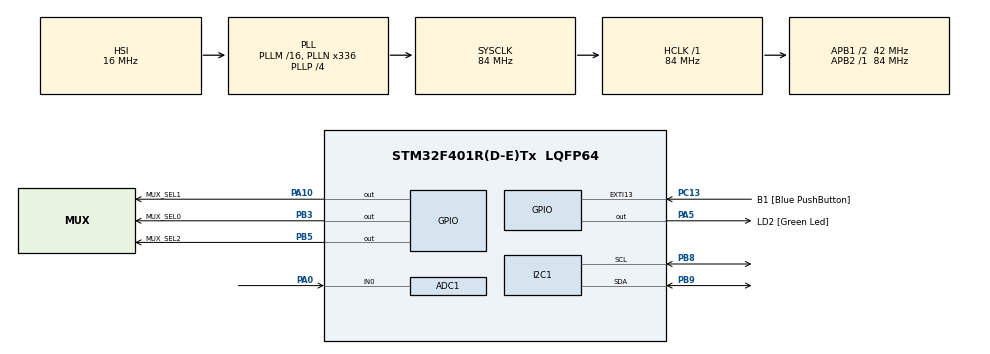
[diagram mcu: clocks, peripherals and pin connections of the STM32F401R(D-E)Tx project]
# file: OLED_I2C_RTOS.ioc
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ADC1.Channel-0\#ChannelRegularConversion=ADC_CHANNEL_0
ADC1.ClockPrescaler=ADC_CLOCK_SYNC_PCLK_DIV4
ADC1.ContinuousConvMode=DISABLE
ADC1.DMAContinuousRequests=ENABLE
ADC1.EOCSelection=ADC_EOC_SEQ_CONV
ADC1.ExternalTrigConv=ADC_EXTERNALTRIGCONV_T2_TRGO
ADC1.ExternalTrigConvEdge=ADC_EXTERNALTRIGCONVEDGE_RISING
ADC1.NbrOfConversionFlag=1
ADC1.Rank-0\#ChannelRegularConversion=1
ADC1.SamplingTime-0\#ChannelRegularConversion=ADC_SAMPLETIME_3CYCLES
ADC1.ScanConvMode=DISABLE
ADC1.master=1
Dma.ADC1.0.Direction=DMA_PERIPH_TO_MEMORY
Dma.ADC1.0.FIFOMode=DMA_FIFOMODE_DISABLE
Dma.ADC1.0.Instance=DMA2_Stream0
Dma.ADC1.0.MemDataAlignment=DMA_MDATAALIGN_WORD
Dma.ADC1.0.MemInc=DMA_MINC_ENABLE
Dma.ADC1.0.Mode=DMA_NORMAL
Dma.ADC1.0.PeriphDataAlignment=DMA_PDATAALIGN_WORD
Dma.ADC1.0.PeriphInc=DMA_PINC_DISABLE
Dma.ADC1.0.Priority=DMA_PRIORITY_LOW
Dma.Request0=ADC1
FREERTOS.Tasks01=defaultTask,0,128,StartDefaultTask,Default,NULL,Dynamic,NULL,NULL
I2C1.I2C_Mode=I2C_Fast
Mcu.Family=STM32F4
Mcu.Name=STM32F401R(D-E)Tx
Mcu.Package=LQFP64
NVIC.DMA2_Stream0_IRQn=true\:5\:0\:false\:false\:true\:true\:false\:true\:true
NVIC.EXTI15_10_IRQn=true\:5\:0\:false\:false\:true\:true\:true\:true\:true
NVIC.PriorityGroup=NVIC_PRIORITYGROUP_4
NVIC.TIM1_UP_TIM10_IRQn=true\:15\:0\:false\:false\:true\:false\:false\:true\:true
NVIC.TimeBase=TIM1_UP_TIM10_IRQn
NVIC.TimeBaseIP=TIM1
PA0-WKUP.Signal=ADCx_IN0
PA10.GPIO_Label=MUX_SEL1
PA10.PinState=GPIO_PIN_SET
PA10.Signal=GPIO_Output
PA13.GPIO_Label=TMS
PA13.Mode=Serial_Wire
PA13.Signal=SYS_JTMS-SWDIO
PA14.GPIO_Label=TCK
PA14.Mode=Serial_Wire
PA14.Signal=SYS_JTCK-SWCLK
PA5.GPIO_Label=LD2 [Green Led]
PA5.GPIO_Mode=GPIO_MODE_OUTPUT_PP
PA5.GPIO_PuPd=GPIO_NOPULL
PA5.GPIO_Speed=GPIO_SPEED_FREQ_LOW
PA5.Signal=GPIO_Output
PB3.GPIO_Label=MUX_SEL0
PB3.PinState=GPIO_PIN_SET
PB3.Signal=GPIO_Output
PB5.GPIO_Label=MUX_SEL2
PB5.GPIO_Speed=GPIO_SPEED_FREQ_LOW
PB5.PinState=GPIO_PIN_SET
PB5.Signal=GPIO_Output
PB8.Mode=I2C
PB8.Signal=I2C1_SCL
PB9.Mode=I2C
PB9.Signal=I2C1_SDA
PC13-ANTI_TAMP.GPIO_Label=B1 [Blue PushButton]
PC13-ANTI_TAMP.GPIO_ModeDefaultEXTI=GPIO_MODE_IT_FALLING
PC13-ANTI_TAMP.GPIO_PuPd=GPIO_PULLUP
PC13-ANTI_TAMP.Signal=GPXTI13
PC14-OSC32_IN.Mode=LSE-External-Oscillator
PC14-OSC32_IN.Signal=RCC_OSC32_IN
PC15-OSC32_OUT.Mode=LSE-External-Oscillator
PC15-OSC32_OUT.Signal=RCC_OSC32_OUT
PH0\ -\ OSC_IN.Mode=HSE-External-Clock-Source
PH0\ -\ OSC_IN.Signal=RCC_OSC_IN
PH1\ -\ OSC_OUT.Mode=HSE-External-Clock-Source
PH1\ -\ OSC_OUT.Signal=RCC_OSC_OUT
ProjectManager.HeapSize=0x200
ProjectManager.StackSize=0x400
ProjectManager.TargetToolchain=STM32CubeIDE
RCC.48MHZClocksFreq_Value=48000000
RCC.AHBFreq_Value=84000000
RCC.APB1CLKDivider=RCC_HCLK_DIV2
RCC.APB1Freq_Value=42000000
RCC.APB1TimFreq_Value=84000000
RCC.APB2Freq_Value=84000000
RCC.APB2TimFreq_Value=84000000
RCC.CortexFreq_Value=84000000
RCC.HCLKFreq_Value=84000000
RCC.HSE_VALUE=8000000
RCC.HSI_VALUE=16000000
RCC.PLLN=336
RCC.PLLP=RCC_PLLP_DIV4
RCC.PLLQ=7
RCC.SYSCLKFreq_VALUE=84000000
RCC.SYSCLKSource=RCC_SYSCLKSOURCE_PLLCLK
RCC.VCOOutputFreq_Value=336000000
SH.ADCx_IN0.0=ADC1_IN0,IN0
TIM2.TIM_MasterOutputTrigger=TIM_TRGO_UPDATE
VP_FREERTOS_VS_CMSIS_V1.Mode=CMSIS_V1
VP_SYS_VS_tim1.Mode=TIM1
VP_TIM2_VS_ClockSourceINT.Mode=Internal
VP_TIM5_VS_ClockSourceINT.Mode=Internal
board=NUCLEO-F401RE

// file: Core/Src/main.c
/* USER CODE BEGIN Header */
/**
  ******************************************************************************
  * @file           : main.c
  * @brief          : Main program body
  ******************************************************************************
  * @attention
  *
  * Copyright (c) 2023 STMicroelectronics.
  * All rights reserved.
  *
  * This software is licensed under terms that can be found in the LICENSE file
  * in the root directory of this software component.
  * If no LICENSE file comes with this software, it is provided AS-IS.
  *
  ******************************************************************************
  */
/* USER CODE END Header */
#include "main.h"
#include "cmsis_os.h"

/* USER CODE BEGIN Includes */
#include "ssd1306.h"
/* USER CODE END Includes */

/* USER CODE BEGIN PD */
#define MAX		512

#define ATEN_03		6	//A0
#define ATEN_05		7	//A1
#define AMP_1		0	//A2
#define AMP_3		1	//A3
#define AMP_5		2	//A4
#define AMP_10		3	//A5
#define AMP_31		4	//A6
#define AMP_50		5	//A7
/* USER CODE END PD */

ADC_HandleTypeDef hadc1;
DMA_HandleTypeDef hdma_adc1;

I2C_HandleTypeDef hi2c1;

TIM_HandleTypeDef htim2;
TIM_HandleTypeDef htim5;

osThreadId defaultTaskHandle;
/* USER CODE BEGIN PV */
int flag;
char adc_char[10];
int trigger_point = 1;
int trigger_level = 2048;
int contador;

uint32_t buffer_adc[MAX];
uint32_t buffer_display[MAX/2];

/* USER CODE END PV */

void SystemClock_Config(void);
static void MX_GPIO_Init(void);
static void MX_DMA_Init(void);
static void MX_ADC1_Init(void);
static void MX_I2C1_Init(void);
static void MX_TIM2_Init(void);
static void MX_TIM5_Init(void);
void StartDefaultTask(void const * argument);

/* USER CODE BEGIN PFP */

void int_to_char(uint32_t num, char texto[]){

	uint32_t buffer = num;
	int contador = 0;

	while(buffer > 0){
		buffer /= 10;
		contador++;
	}

	texto[contador] = '\0';

	buffer = num;
	int pos = contador - 1, digito;
	while(pos >= 0){
		digito = buffer%10;
		buffer /= 10;
		texto[pos] = digito + '0';
		pos--;
	}
}

float map(float x, float in_min, float in_max, float out_min, float out_max){
    return (x - in_min) * (out_max - out_min) / (in_max - in_min) + out_min;
}
void actualizar_escala()
{
switch(contador)
	{
		case AMP_1://A2
			ssd1306_SetCursor(115, 55);
			ssd1306_WriteString("x1", Font_6x8, White);
			ssd1306_SetCursor(6, 9);
			ssd1306_WriteString("1,6", Font_6x8, White);
			ssd1306_SetCursor(17, 33);
			ssd1306_WriteString("0", Font_6x8, White);
			ssd1306_SetCursor(0, 56);
			ssd1306_WriteString("-1,6", Font_6x8, White);
		break;
		case AMP_3://A3
			ssd1306_SetCursor(115, 55);
			ssd1306_WriteString("x3", Font_6x8, White);
			ssd1306_SetCursor(6, 9);
			ssd1306_WriteString("0,6", Font_6x8, White);
			ssd1306_SetCursor(17, 33);
			ssd1306_WriteString("0", Font_6x8, White);
			ssd1306_SetCursor(0, 56);
			ssd1306_WriteString("-0,6", Font_6x8, White);
		break;
		case AMP_5://A4
			ssd1306_SetCursor(115, 55);
			ssd1306_WriteString("x5", Font_6x8, White);
			ssd1306_SetCursor(6, 9);
			ssd1306_WriteString("0,3", Font_6x8, White);
			ssd1306_SetCursor(17, 33);
			ssd1306_WriteString("0", Font_6x8, White);
			ssd1306_SetCursor(0, 56);
			ssd1306_WriteString("-0,3", Font_6x8, White);
		break;
		case AMP_10://A5
			ssd1306_SetCursor(109, 55);
			ssd1306_WriteString("x10", Font_6x8, White);
			ssd1306_SetCursor(6, 9);
			ssd1306_WriteString("0,1", Font_6x8, White);
			ssd1306_SetCursor(17, 33);
			ssd1306_WriteString("0", Font_6x8, White);
			ssd1306_SetCursor(0, 56);
			ssd1306_WriteString("-0,1", Font_6x8, White);
		break;
		case AMP_31://A6
			ssd1306_SetCursor(109, 55);
			ssd1306_WriteString("x31", Font_6x8, White);
			ssd1306_SetCursor(6, 9);
			ssd1306_WriteString("52m", Font_6x8, White);
			ssd1306_SetCursor(17, 33);
			ssd1306_WriteString("0", Font_6x8, White);
			ssd1306_SetCursor(0, 56);
			ssd1306_WriteString("-52m", Font_6x8, White);
		break;
		case AMP_50://A7
			ssd1306_SetCursor(109, 55);
			ssd1306_WriteString("x50", Font_6x8, White);
			ssd1306_SetCursor(6, 9);
			ssd1306_WriteString("33m", Font_6x8, White);
			ssd1306_SetCursor(17, 33);
			ssd1306_WriteString("0", Font_6x8, White);
			ssd1306_SetCursor(0, 56);
			ssd1306_WriteString("-33m", Font_6x8, White);
		break;
		case ATEN_03://A0
			ssd1306_SetCursor(109, 55);
			ssd1306_WriteString("x.3", Font_6x8, White);
			ssd1306_SetCursor(17, 9);
			ssd1306_WriteString("6", Font_6x8, White);
			ssd1306_SetCursor(17, 33);
			ssd1306_WriteString("0", Font_6x8, White);
			ssd1306_SetCursor(11, 56);
			ssd1306_WriteString("-6", Font_6x8, White);
		break;
		case ATEN_05://A1
			ssd1306_SetCursor(109, 55);
			ssd1306_WriteString("x.5", Font_6x8, White);
			ssd1306_SetCursor(6, 9);
			ssd1306_WriteString("3,3", Font_6x8, White);
			ssd1306_SetCursor(17, 33);
			ssd1306_WriteString("0", Font_6x8, White);
			ssd1306_SetCursor(0, 56);
			ssd1306_WriteString("-3,3", Font_6x8, White);
		break;
		default://A2
			ssd1306_SetCursor(115, 55);
			ssd1306_WriteString("x1", Font_6x8, White);
			ssd1306_SetCursor(6, 9);
			ssd1306_WriteString("1,6", Font_6x8, White);
			ssd1306_SetCursor(17, 33);
			ssd1306_WriteString("0", Font_6x8, White);
			ssd1306_SetCursor(0, 56);
			ssd1306_WriteString("-1,6", Font_6x8, White);
		break;
	}
}

void display_plot_grilla(void){

	//ssd1306_Fill(Black);
	ssd1306_SetCursor(0, 0);

	ssd1306_VLine(26, 9, 55, White);   // left vartical line
	ssd1306_VLine(127, 9, 3, White);   // right vrtical line up
	ssd1306_VLine(127, 60, 3, White);  // right vrtical line bottom

	ssd1306_HLine(24, 9, 7, White);    // Max value auxiliary mark
	ssd1306_HLine(24, 36, 2, White);
	ssd1306_HLine(24, 63, 7, White);

	ssd1306_HLine(51, 9, 3, White);    // Max value auxiliary mark
	ssd1306_HLine(51, 63, 3, White);

	ssd1306_HLine(76, 9, 3, White);    // Max value auxiliary mark
	ssd1306_HLine(76, 63, 3, White);

	ssd1306_HLine(101, 9, 3, White);   // Max value auxiliary mark
	ssd1306_HLine(101, 63, 3, White);

	ssd1306_HLine(123, 9, 5, White);   // right side Max value auxiliary mark
	ssd1306_HLine(123, 63, 5, White);

	for (int x = 26; x <= 128; x += 5){
	  ssd1306_HLine(x, 36, 2, White);  // Draw the center line (horizontal line) with a dotted line
	}

	for (int x = (127 - 25); x > 30; x -= 25){
		for (int y = 10; y < 63; y += 5){
			ssd1306_VLine(x, y, 2, White); // Draw 3 vertical lines with dotted lines
		}
	}
	ssd1306_SetCursor(14, 0);
	ssd1306_WriteString("XX.XKH rmsX.XV XXuS", Font_6x8, White);
	//
}

/*
void Analizar_amplitud(uint32_t *buffer)
{
	uint32_t Valor_max;

	for(int i = 1; i< MAX; i++)
	{
		if(buffer[i] > buffer[i-1])
			Valor_max = buffer[i];
	}
	if(Valor_max < 2088)
		Cambiar_MUX(AMP_50);
	else if(Valor_max>2088 && Valor_max<2112)
		Cambiar_MUX(AMP_31);
	else if(Valor_max>2112 && Valor_max<2252)
		Cambiar_MUX(AMP_10);
	else if(Valor_max>2252 && Valor_max<2457)
		Cambiar_MUX(AMP_5);
	else if(Valor_max>2457 && Valor_max<2699)
		Cambiar_MUX(AMP_3);
	else if(Valor_max>2699)
		Cambiar_MUX(AMP_1);
}
*/

void display_plot_signal(void){

	int y3 = 0, y4 = 0;
	int x3 = 0, x4 = 0;

	if(flag)
	{
		//ssd1306_Fill(Black);
		trigger_point = 1;

		for(int i = 0; i<MAX/2; i++)
				buffer_display[i] = buffer_adc[i];

		//Analizar_amplitud(buffer_display);
		for(int i = 0; i <= 98; i++)
		{
			// flanco descendente
			if((buffer_display[i] > trigger_level ) && (buffer_display[i+1]) < trigger_level )
			{
				trigger_point = i;
				break;
			}
		}

		for (int k = 0; k <= 98; k++){

			x3 = k + trigger_point;
			x4 = x3 + 1;

			y3 = map(buffer_display[x3], 0, 4095, 63, 9); 				// convert to plot
			y4 = map(buffer_display[x4], 0, 4095, 63, 9);

			ssd1306_Line(k + 27, y3, k + 28, y4, White);

		 }
		//ssd1306_UpdateScreen();
		//ssd1306_Fill(Black);
		if(flag == 2)
			HAL_ADC_Start_DMA(&hadc1, buffer_adc, MAX);

		flag = 0;
	}
}
void HAL_GPIO_EXTI_Callback(uint16_t GPIO_Pin){
	/*
	trigger_level += 300;
	if(trigger_level > 3800)
		trigger_level = 100;
	*/
	contador++;
	contador %= 8;
	switch(contador)
	{
		case AMP_1://A2
			HAL_GPIO_WritePin(MUX_SEL0_GPIO_Port, MUX_SEL0_Pin, GPIO_PIN_RESET);
			HAL_GPIO_WritePin(MUX_SEL1_GPIO_Port, MUX_SEL1_Pin, GPIO_PIN_SET);
			HAL_GPIO_WritePin(MUX_SEL2_GPIO_Port, MUX_SEL2_Pin, GPIO_PIN_RESET);

		break;
		case AMP_3://A3
			HAL_GPIO_WritePin(MUX_SEL0_GPIO_Port, MUX_SEL0_Pin, GPIO_PIN_SET);
			HAL_GPIO_WritePin(MUX_SEL1_GPIO_Port, MUX_SEL1_Pin, GPIO_PIN_SET);
			HAL_GPIO_WritePin(MUX_SEL2_GPIO_Port, MUX_SEL2_Pin, GPIO_PIN_RESET);
		break;
		case AMP_5://A4
			HAL_GPIO_WritePin(MUX_SEL0_GPIO_Port, MUX_SEL0_Pin, GPIO_PIN_RESET);
			HAL_GPIO_WritePin(MUX_SEL1_GPIO_Port, MUX_SEL1_Pin, GPIO_PIN_RESET);
			HAL_GPIO_WritePin(MUX_SEL2_GPIO_Port, MUX_SEL2_Pin, GPIO_PIN_SET);
		break;
		case AMP_10://A5
			HAL_GPIO_WritePin(MUX_SEL0_GPIO_Port, MUX_SEL0_Pin, GPIO_PIN_SET);
			HAL_GPIO_WritePin(MUX_SEL1_GPIO_Port, MUX_SEL1_Pin, GPIO_PIN_RESET);
			HAL_GPIO_WritePin(MUX_SEL2_GPIO_Port, MUX_SEL2_Pin, GPIO_PIN_SET);
		break;
		case AMP_31://A6
			HAL_GPIO_WritePin(MUX_SEL0_GPIO_Port, MUX_SEL0_Pin, GPIO_PIN_RESET);
			HAL_GPIO_WritePin(MUX_SEL1_GPIO_Port, MUX_SEL1_Pin, GPIO_PIN_SET);
			HAL_GPIO_WritePin(MUX_SEL2_GPIO_Port, MUX_SEL2_Pin, GPIO_PIN_SET);
		break;
		case AMP_50://A7
			HAL_GPIO_WritePin(MUX_SEL0_GPIO_Port, MUX_SEL0_Pin, GPIO_PIN_SET);
			HAL_GPIO_WritePin(MUX_SEL1_GPIO_Port, MUX_SEL1_Pin, GPIO_PIN_SET);
			HAL_GPIO_WritePin(MUX_SEL2_GPIO_Port, MUX_SEL2_Pin, GPIO_PIN_SET);
		break;
		case ATEN_03://A0
			HAL_GPIO_WritePin(MUX_SEL0_GPIO_Port, MUX_SEL0_Pin, GPIO_PIN_RESET);
			HAL_GPIO_WritePin(MUX_SEL1_GPIO_Port, MUX_SEL1_Pin, GPIO_PIN_RESET);
			HAL_GPIO_WritePin(MUX_SEL2_GPIO_Port, MUX_SEL2_Pin, GPIO_PIN_RESET);
		break;
		case ATEN_05://A1
			HAL_GPIO_WritePin(MUX_SEL0_GPIO_Port, MUX_SEL0_Pin, GPIO_PIN_SET);
			HAL_GPIO_WritePin(MUX_SEL1_GPIO_Port, MUX_SEL1_Pin, GPIO_PIN_RESET);
			HAL_GPIO_WritePin(MUX_SEL2_GPIO_Port, MUX_SEL2_Pin, GPIO_PIN_RESET);
		break;
		default://A2
			HAL_GPIO_WritePin(MUX_SEL0_GPIO_Port, MUX_SEL0_Pin, GPIO_PIN_RESET);
			HAL_GPIO_WritePin(MUX_SEL1_GPIO_Port, MUX_SEL1_Pin, GPIO_PIN_SET);
			HAL_GPIO_WritePin(MUX_SEL2_GPIO_Port, MUX_SEL2_Pin, GPIO_PIN_RESET);
		break;
	}
}

void display_plot_trigger(void){

	int trigger_actual = 0;

	trigger_actual = map(trigger_level, 0, 4095, 63, 9);

	//ssd1306_HLine(26, trigger_actual, 100, White);

	// dibujo el triangulo
	ssd1306_VLine(127, trigger_actual-2, 4, White);
	ssd1306_VLine(126, trigger_actual-1, 2, White);
	ssd1306_DrawPixel(125, trigger_actual, White);
}

int half, cplt;
void HAL_ADC_ConvHalfCpltCallback(ADC_HandleTypeDef* hadc)
{
	half++;
	flag = 1;
}

void HAL_ADC_ConvCpltCallback(ADC_HandleTypeDef* hadc){
	cplt++;
	flag = 2;
}

/*
void RMS(void)
{
	#include <math.h>
	for(int i=0; i<NS; i++){
		adc1 = (float32_t)adc_buffer[i]*3.3/4096.0;
		valorMax = adc1*adc1+valorMax;
	}
	pResultado = sqrt(valorMax / (float32_t) blockSize);
	valorMax = 0;
}
*/

/* ------------------------ Tareas Free RTOS ------------------------ */

void Init_Sistema(void *pvParameters){

	ssd1306_Init();
	//HAL_TIM_OC_Start(&htim2, TIM_CHANNEL_1);
	HAL_TIM_Base_Start(&htim2);
	HAL_ADC_Start_DMA(&hadc1, buffer_adc, MAX);
	HAL_GPIO_WritePin(MUX_SEL0_GPIO_Port, MUX_SEL0_Pin, GPIO_PIN_RESET);
	HAL_GPIO_WritePin(MUX_SEL1_GPIO_Port, MUX_SEL1_Pin, GPIO_PIN_SET);
	HAL_GPIO_WritePin(MUX_SEL2_GPIO_Port, MUX_SEL2_Pin, GPIO_PIN_RESET);
	vTaskDelete(NULL);
}
void Mostrar_pantalla(void *pvParameters){

	while(1){

		ssd1306_Fill(Black);
		display_plot_grilla();
		display_plot_trigger();
		display_plot_signal();
		actualizar_escala();
		ssd1306_UpdateScreen();

		vTaskDelay(10/portTICK_RATE_MS);

	}
}

void Cambiar_Modo(void *pvParameters){

}

void Enviar_USB(void *pvParameters){

}

/* USER CODE END PFP */

int main(void)
{

  /* MCU Configuration--------------------------------------------------------*/

  /* Reset of all peripherals, Initializes the Flash interface and the Systick. */
  HAL_Init();

  /* Configure the system clock */
  SystemClock_Config();

  /* Initialize all configured peripherals */
  MX_GPIO_Init();
  MX_DMA_Init();
  MX_ADC1_Init();
  MX_I2C1_Init();
  MX_TIM2_Init();
  MX_TIM5_Init();

  /* Create the thread(s) */
  /* definition and creation of defaultTask */

  /* USER CODE BEGIN RTOS_THREADS */
  /* add threads, ... */
  xTaskCreate(Init_Sistema,"INICIALIZAR",configMINIMAL_STACK_SIZE, NULL, tskIDLE_PRIORITY+2, NULL);
  xTaskCreate(Mostrar_pantalla, "PANTALLA", configMINIMAL_STACK_SIZE, NULL, tskIDLE_PRIORITY+1, NULL);
  //xTaskCreate(Enviar_USB,"USB", configMINIMAL_STACK_SIZE, NULL, tskIDLE_PRIORITY+1, NULL);
  //xTaskCreate(Cambiar_Modo,"MODO",configMINIMAL_STACK_SIZE, NULL, tskIDLE_PRIORITY+1, NULL);

  /* USER CODE END RTOS_THREADS */

  /* Start scheduler */

  /* We should never get here as control is now taken by the scheduler */
  /* Infinite loop */
  /* USER CODE BEGIN WHILE */
  vTaskStartScheduler();
  while(1){
    /* USER CODE END WHILE */

  }
}

void SystemClock_Config(void)
{
  RCC_OscInitTypeDef RCC_OscInitStruct = {0};
  RCC_ClkInitTypeDef RCC_ClkInitStruct = {0};

  /** Configure the main internal regulator output voltage
  */
  __HAL_RCC_PWR_CLK_ENABLE();
  __HAL_PWR_VOLTAGESCALING_CONFIG(PWR_REGULATOR_VOLTAGE_SCALE2);

  /** Initializes the RCC Oscillators according to the specified parameters
  * in the RCC_OscInitTypeDef structure.
  */
  RCC_OscInitStruct.OscillatorType = RCC_OSCILLATORTYPE_HSI;
  RCC_OscInitStruct.HSIState = RCC_HSI_ON;
  RCC_OscInitStruct.HSICalibrationValue = RCC_HSICALIBRATION_DEFAULT;
  RCC_OscInitStruct.PLL.PLLState = RCC_PLL_ON;
  RCC_OscInitStruct.PLL.PLLSource = RCC_PLLSOURCE_HSI;
  RCC_OscInitStruct.PLL.PLLM = 16;
  RCC_OscInitStruct.PLL.PLLN = 336;
  RCC_OscInitStruct.PLL.PLLP = RCC_PLLP_DIV4;
  RCC_OscInitStruct.PLL.PLLQ = 7;
  if (HAL_RCC_OscConfig(&RCC_OscInitStruct) != HAL_OK)
  {
    Error_Handler();
  }

  /** Initializes the CPU, AHB and APB buses clocks
  */
  RCC_ClkInitStruct.ClockType = RCC_CLOCKTYPE_HCLK|RCC_CLOCKTYPE_SYSCLK
                              |RCC_CLOCKTYPE_PCLK1|RCC_CLOCKTYPE_PCLK2;
  RCC_ClkInitStruct.SYSCLKSource = RCC_SYSCLKSOURCE_PLLCLK;
  RCC_ClkInitStruct.AHBCLKDivider = RCC_SYSCLK_DIV1;
  RCC_ClkInitStruct.APB1CLKDivider = RCC_HCLK_DIV2;
  RCC_ClkInitStruct.APB2CLKDivider = RCC_HCLK_DIV1;

  if (HAL_RCC_ClockConfig(&RCC_ClkInitStruct, FLASH_LATENCY_2) != HAL_OK)
  {
    Error_Handler();
  }
}

static void MX_ADC1_Init(void)
{

  ADC_ChannelConfTypeDef sConfig = {0};

  /** Configure the global features of the ADC (Clock, Resolution, Data Alignment and number of conversion)
  */
  hadc1.Instance = ADC1;
  hadc1.Init.ClockPrescaler = ADC_CLOCK_SYNC_PCLK_DIV4;
  hadc1.Init.Resolution = ADC_RESOLUTION_12B;
  hadc1.Init.ScanConvMode = DISABLE;
  hadc1.Init.ContinuousConvMode = DISABLE;
  hadc1.Init.DiscontinuousConvMode = DISABLE;
  hadc1.Init.ExternalTrigConvEdge = ADC_EXTERNALTRIGCONVEDGE_RISING;
  hadc1.Init.ExternalTrigConv = ADC_EXTERNALTRIGCONV_T2_TRGO;
  hadc1.Init.DataAlign = ADC_DATAALIGN_RIGHT;
  hadc1.Init.NbrOfConversion = 1;
  hadc1.Init.DMAContinuousRequests = ENABLE;
  hadc1.Init.EOCSelection = ADC_EOC_SEQ_CONV;
  if (HAL_ADC_Init(&hadc1) != HAL_OK)
  {
    Error_Handler();
  }

  /** Configure for the selected ADC regular channel its corresponding rank in the sequencer and its sample time.
  */
  sConfig.Channel = ADC_CHANNEL_0;
  sConfig.Rank = 1;
  sConfig.SamplingTime = ADC_SAMPLETIME_3CYCLES;
  if (HAL_ADC_ConfigChannel(&hadc1, &sConfig) != HAL_OK)
  {
    Error_Handler();
  }

}

static void MX_I2C1_Init(void)
{

  hi2c1.Instance = I2C1;
  hi2c1.Init.ClockSpeed = 400000;
  hi2c1.Init.DutyCycle = I2C_DUTYCYCLE_2;
  hi2c1.Init.OwnAddress1 = 0;
  hi2c1.Init.AddressingMode = I2C_ADDRESSINGMODE_7BIT;
  hi2c1.Init.DualAddressMode = I2C_DUALADDRESS_DISABLE;
  hi2c1.Init.OwnAddress2 = 0;
  hi2c1.Init.GeneralCallMode = I2C_GENERALCALL_DISABLE;
  hi2c1.Init.NoStretchMode = I2C_NOSTRETCH_DISABLE;
  if (HAL_I2C_Init(&hi2c1) != HAL_OK)
  {
    Error_Handler();
  }

}

static void MX_TIM2_Init(void)
{

  /* USER CODE BEGIN TIM2_Init 0 */
	/*
	htim3.Init.Period = 60;	fs = 700kHz  fmin = 7,142KHz	fmax = 28,57kHz
	htim3.Init.Period = 168;	fs = 250kHz  fmin = 2560Hz fmax = 10,24kHz
	htim3.Init.Period = 667;  fs = 63KHz   fmin = 640Hz fmax = 2560Hz

	htim3.Init.Period = 2675; fs=15,7KHz fmin = 160Hz fmax = 640Hz
	htim3.Init.Period = 10769; fs=3,9KHz fmin = 40Hz fmax = 160Hz
	htim3.Init.Period = 42857; fs=980Hz fmin = 10Hz fmax = 40Hz
	*/
  /* USER CODE END TIM2_Init 0 */

  TIM_ClockConfigTypeDef sClockSourceConfig = {0};
  TIM_MasterConfigTypeDef sMasterConfig = {0};

  htim2.Instance = TIM2;
  htim2.Init.Prescaler = 1;
  htim2.Init.CounterMode = TIM_COUNTERMODE_UP;
  htim2.Init.Period = 2675;
  htim2.Init.ClockDivision = TIM_CLOCKDIVISION_DIV1;
  htim2.Init.AutoReloadPreload = TIM_AUTORELOAD_PRELOAD_DISABLE;
  if (HAL_TIM_Base_Init(&htim2) != HAL_OK)
  {
    Error_Handler();
  }
  sClockSourceConfig.ClockSource = TIM_CLOCKSOURCE_INTERNAL;
  if (HAL_TIM_ConfigClockSource(&htim2, &sClockSourceConfig) != HAL_OK)
  {
    Error_Handler();
  }
  sMasterConfig.MasterOutputTrigger = TIM_TRGO_UPDATE;
  sMasterConfig.MasterSlaveMode = TIM_MASTERSLAVEMODE_DISABLE;
  if (HAL_TIMEx_MasterConfigSynchronization(&htim2, &sMasterConfig) != HAL_OK)
  {
    Error_Handler();
  }

}

static void MX_TIM5_Init(void)
{

  TIM_ClockConfigTypeDef sClockSourceConfig = {0};
  TIM_MasterConfigTypeDef sMasterConfig = {0};

  htim5.Instance = TIM5;
  htim5.Init.Prescaler = 0;
  htim5.Init.CounterMode = TIM_COUNTERMODE_UP;
  htim5.Init.Period = 4294967295;
  htim5.Init.ClockDivision = TIM_CLOCKDIVISION_DIV1;
  htim5.Init.AutoReloadPreload = TIM_AUTORELOAD_PRELOAD_DISABLE;
  if (HAL_TIM_Base_Init(&htim5) != HAL_OK)
  {
    Error_Handler();
  }
  sClockSourceConfig.ClockSource = TIM_CLOCKSOURCE_INTERNAL;
  if (HAL_TIM_ConfigClockSource(&htim5, &sClockSourceConfig) != HAL_OK)
  {
    Error_Handler();
  }
  sMasterConfig.MasterOutputTrigger = TIM_TRGO_RESET;
  sMasterConfig.MasterSlaveMode = TIM_MASTERSLAVEMODE_DISABLE;
  if (HAL_TIMEx_MasterConfigSynchronization(&htim5, &sMasterConfig) != HAL_OK)
  {
    Error_Handler();
  }

}

static void MX_DMA_Init(void)
{

  /* DMA controller clock enable */
  __HAL_RCC_DMA2_CLK_ENABLE();

  /* DMA interrupt init */
  /* DMA2_Stream0_IRQn interrupt configuration */
  HAL_NVIC_SetPriority(DMA2_Stream0_IRQn, 5, 0);
  HAL_NVIC_EnableIRQ(DMA2_Stream0_IRQn);

}

static void MX_GPIO_Init(void)
{
  GPIO_InitTypeDef GPIO_InitStruct = {0};

  /* GPIO Ports Clock Enable */
  __HAL_RCC_GPIOC_CLK_ENABLE();
  __HAL_RCC_GPIOH_CLK_ENABLE();
  __HAL_RCC_GPIOA_CLK_ENABLE();
  __HAL_RCC_GPIOB_CLK_ENABLE();

  /*Configure GPIO pin Output Level */
  HAL_GPIO_WritePin(LD2_GPIO_Port, LD2_Pin, GPIO_PIN_RESET);

  /*Configure GPIO pin Output Level */
  HAL_GPIO_WritePin(MUX_SEL1_GPIO_Port, MUX_SEL1_Pin, GPIO_PIN_SET);

  /*Configure GPIO pin Output Level */
  HAL_GPIO_WritePin(GPIOB, MUX_SEL0_Pin|MUX_SEL2_Pin, GPIO_PIN_SET);

  /*Configure GPIO pin : B1_Pin */
  GPIO_InitStruct.Pin = B1_Pin;
  GPIO_InitStruct.Mode = GPIO_MODE_IT_FALLING;
  GPIO_InitStruct.Pull = GPIO_PULLUP;
  HAL_GPIO_Init(B1_GPIO_Port, &GPIO_InitStruct);

  /*Configure GPIO pins : LD2_Pin MUX_SEL1_Pin */
  GPIO_InitStruct.Pin = LD2_Pin|MUX_SEL1_Pin;
  GPIO_InitStruct.Mode = GPIO_MODE_OUTPUT_PP;
  GPIO_InitStruct.Pull = GPIO_NOPULL;
  GPIO_InitStruct.Speed = GPIO_SPEED_FREQ_LOW;
  HAL_GPIO_Init(GPIOA, &GPIO_InitStruct);

  /*Configure GPIO pins : MUX_SEL0_Pin MUX_SEL2_Pin */
  GPIO_InitStruct.Pin = MUX_SEL0_Pin|MUX_SEL2_Pin;
  GPIO_InitStruct.Mode = GPIO_MODE_OUTPUT_PP;
  GPIO_InitStruct.Pull = GPIO_NOPULL;
  GPIO_InitStruct.Speed = GPIO_SPEED_FREQ_LOW;
  HAL_GPIO_Init(GPIOB, &GPIO_InitStruct);

  /* EXTI interrupt init*/
  HAL_NVIC_SetPriority(EXTI15_10_IRQn, 5, 0);
  HAL_NVIC_EnableIRQ(EXTI15_10_IRQn);

}

void StartDefaultTask(void const * argument)
{
  for(;;)
  {
    osDelay(1);
  }
}

void HAL_TIM_PeriodElapsedCallback(TIM_HandleTypeDef *htim)
{
  if (htim->Instance == TIM1) {
    HAL_IncTick();
  }
}

void Error_Handler(void)
{
  __disable_irq();
  while (1)
  {
  }
}
